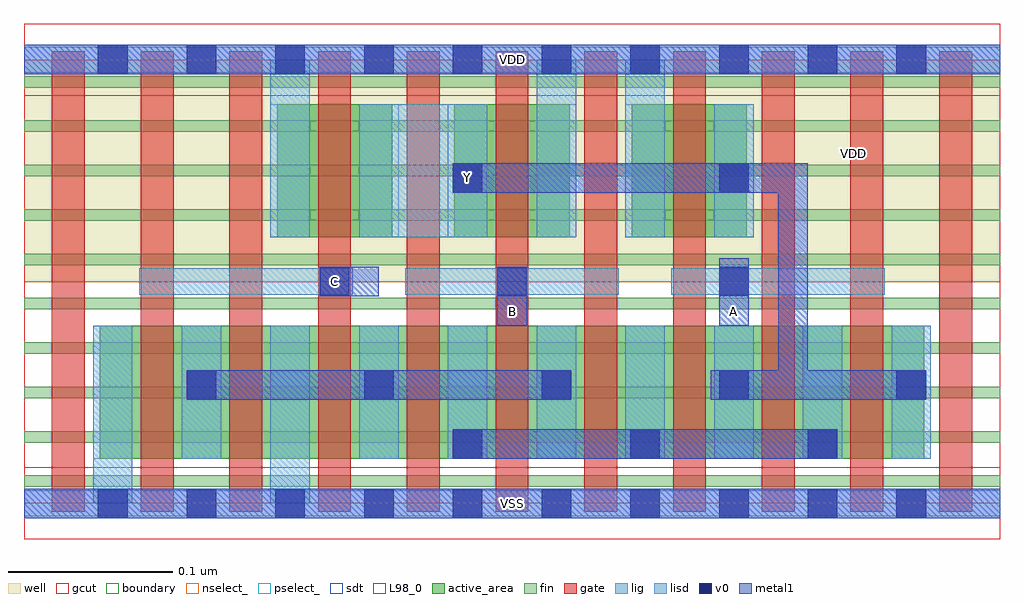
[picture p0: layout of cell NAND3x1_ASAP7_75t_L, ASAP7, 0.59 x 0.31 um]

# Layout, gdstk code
import gdstk
lib = gdstk.Library(unit=1e-6, precision=2.5e-10)
def R(c, l, rs):  # rectangles x0, y0, x1, y1
    for r in rs: c.add(gdstk.rectangle(r[:2], r[2:], *l))
def A(c, l, x, y, w, h, nx, ny, dx, dy):  # array of equal rectangles
    R(c, l, [(x+i*dx, y+j*dy, x+i*dx+w, y+j*dy+h) for i in range(nx) for j in range(ny)])
def P(c, l, *ps):  # polygons
    for p in ps: c.add(gdstk.Polygon(p, *l))
well = (1, 0)
fin = (2, 0)
gate = (7, 0)
gcut = (10, 0)
active_area = (11, 0)
nselect_ = (12, 0)
pselect_ = (13, 0)
lig = (16, 0)
lisd = (17, 0)
v0 = (18, 0)
metal1 = (19, 0)
sdt = (88, 0)
L98_0 = (98, 0)
boundary = (100, 0)

nand3x1_asap7_75t_l = lib.new_cell('NAND3x1_ASAP7_75t_L')
R(nand3x1_asap7_75t_l, well, [(0,0.135,0.594,0.27)])
A(nand3x1_asap7_75t_l, fin, 0, 0.01, 0.594, 0.007, 1, 10, 0, 0.027)
A(nand3x1_asap7_75t_l, gate, 0.017, -0.005, 0.02, 0.28, 11, 1, 0.054, 0)
R(nand3x1_asap7_75t_l, gcut, [(0,-0.022,0.594,0.022), (0,0.248,0.594,0.292)])
A(nand3x1_asap7_75t_l, active_area, 0.154, 0.162, 0.07, 0.081, 3, 1, 0.108, 0)
R(nand3x1_asap7_75t_l, active_area, [(0.046,0.027,0.548,0.108)])
R(nand3x1_asap7_75t_l, nselect_, [(0,0,0.594,0.135)])
R(nand3x1_asap7_75t_l, pselect_, [(0,0.135,0.594,0.27)])
A(nand3x1_asap7_75t_l, lig, 0.07, 0.127, 0.13, 0.016, 3, 1, 0.162, 0)
R(nand3x1_asap7_75t_l, lig, [(0,-0.008,0.594,0.008), (0,0.262,0.594,0.278)])
A(nand3x1_asap7_75t_l, lisd, 0.204, 0.027, 0.024, 0.081, 7, 1, 0.054, 0)
R(nand3x1_asap7_75t_l, lisd, [(0.042,0,0.066,0.108), (0.15,0,0.174,0.108), (0.096,0.027,0.12,0.108), (0.15,0.162,0.174,0.27), (0.204,0.162,0.282,0.243), (0.312,0.162,0.336,0.27), (0.366,0.162,0.39,0.27), (0.42,0.162,0.444,0.243)])
A(nand3x1_asap7_75t_l, v0, 0.045, -0.009, 0.018, 0.018, 10, 2, 0.054, 0.27)
A(nand3x1_asap7_75t_l, v0, 0.261, 0.027, 0.018, 0.018, 3, 1, 0.108, 0)
A(nand3x1_asap7_75t_l, v0, 0.099, 0.063, 0.018, 0.018, 5, 1, 0.108, 0)
R(nand3x1_asap7_75t_l, v0, [(0.18,0.126,0.198,0.144), (0.288,0.126,0.306,0.144), (0.423,0.126,0.441,0.144), (0.261,0.189,0.279,0.207), (0.423,0.189,0.441,0.207)])
R(nand3x1_asap7_75t_l, metal1, [(0,-0.009,0.594,0.009), (0.261,0.027,0.495,0.045), (0.099,0.063,0.333,0.081), (0.288,0.108,0.306,0.144), (0.423,0.108,0.441,0.149), (0.18,0.126,0.216,0.144), (0,0.261,0.594,0.279)])
P(nand3x1_asap7_75t_l, metal1, [(0.418,0.063),(0.418,0.081),(0.459,0.081),(0.459,0.189),(0.261,0.189),(0.261,0.207),(0.477,0.207),(0.477,0.081),(0.549,0.081),(0.549,0.063)])
A(nand3x1_asap7_75t_l, sdt, 0.042, 0.027, 0.024, 0.081, 10, 1, 0.054, 0)
A(nand3x1_asap7_75t_l, sdt, 0.15, 0.162, 0.024, 0.081, 6, 1, 0.054, 0)
R(nand3x1_asap7_75t_l, L98_0, [(0,0,0.594,0.27)])
R(nand3x1_asap7_75t_l, boundary, [(0,0,0.594,0.27)])
nand3x1_asap7_75t_l.add(gdstk.Label('C', (0.189,0.135), layer=19, texttype=251))
nand3x1_asap7_75t_l.add(gdstk.Label('A', (0.432,0.117), layer=19, texttype=251))
nand3x1_asap7_75t_l.add(gdstk.Label('B', (0.297,0.117), layer=19, texttype=251))
nand3x1_asap7_75t_l.add(gdstk.Label('Y', (0.27,0.198), layer=19, texttype=251))
nand3x1_asap7_75t_l.add(gdstk.Label('VSS', (0.297,0), layer=19, texttype=251))
nand3x1_asap7_75t_l.add(gdstk.Label('VDD', (0.297,0.27), layer=19, texttype=251))
nand3x1_asap7_75t_l.add(gdstk.Label('VDD', (0.505,0.213), layer=1, texttype=251))
nand3x1_asap7_75t_l.add(gdstk.Label('VSS', (0.683,0.213), layer=3, texttype=251))

lib.write_gds('NAND3x1_ASAP7_75t_L.gds')
